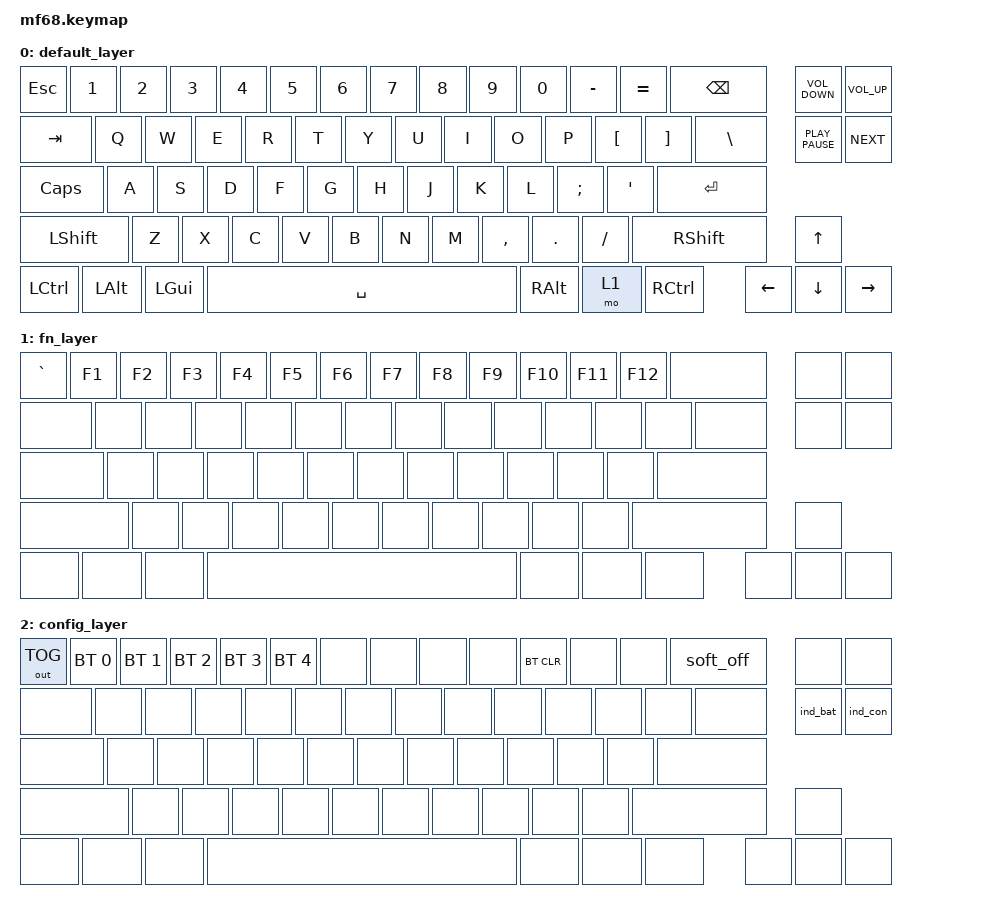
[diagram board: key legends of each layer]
/*
 * Copyright (c) 2020 The ZMK Contributors
 *
 * SPDX-License-Identifier: MIT
 */

#include <behaviors/rgbled_widget.dtsi>
#include <behaviors.dtsi>
#include <dt-bindings/zmk/bt.h>
#include <dt-bindings/zmk/keys.h>
#include <dt-bindings/zmk/outputs.h>

/ {
    keymap0: combos {
        compatible = "zmk,combos";

        unlock {
            bindings = <&studio_unlock>;
            key-positions = <0 16>;
        };

        adjust_layer {
            bindings = <&tog 2>;
            key-positions = <14 15>;
        };
    };

    keymap {
        compatible = "zmk,keymap";

        default_layer {
            // ------------------------------------------------------------------------------------------
            // | ESC |  1  |  2  |  3  |  4  |  5  |  6  |  7  |  8  |  9  |  0  |  -  |  =  |   BSPC   |    |  A  |  B  |
            // | TAB  |  Q  |  W  |  E  |  R  |  T  |  Y  |  U  |  I  |  O  |  P  |  [  |  ]  |    \    |    |  C  |  D  |
            // | CAPS  |  A  |  S  |  D  |  F  |  G  |  H  |  J  |  K  |  L  |  ;  |  '  |     ENTER    |
            // |  SHIFT  |  Z  |  X  |  C  |  V  |  B  |  N  |  M  |  ,  |  .  |  /  |      SHIFT       |    |  UP |     |
            // |  CTL  |  WIN  |  ALT  |            SPACE               | ALT | MO(1) |  WIN  | CTRL    | LFT| DOWN|RIGT |
            // ------------------------------------------------------------------------------------------

            bindings = <
&kp ESC    &kp N1    &kp N2    &kp N3     &kp N4    &kp N5  &kp N6     &kp N7    &kp N8     &kp N9     &kp N0    &kp MINUS  &kp EQUAL  &kp BSPC  &kp K_VOLUME_DOWN  &kp K_VOLUME_UP
&kp TAB    &kp Q     &kp W     &kp E      &kp R     &kp T   &kp Y      &kp U     &kp I      &kp O      &kp P     &kp LBKT   &kp RBKT   &kp BSLH  &kp K_PLAY_PAUSE   &kp K_NEXT
&kp CLCK   &kp A     &kp S     &kp D      &kp F     &kp G   &kp H      &kp J     &kp K      &kp L      &kp SEMI  &kp SQT    &kp RET
&kp LSHFT  &kp Z     &kp X     &kp C      &kp V     &kp B   &kp N      &kp M     &kp COMMA  &kp DOT    &kp FSLH  &kp RSHFT  &kp UP
&kp LCTRL  &kp LALT  &kp LGUI  &kp SPACE  &kp RALT  &mo 1   &kp RCTRL  &kp LEFT  &kp DOWN   &kp RIGHT
            >;
        };

        fn_layer {
            bindings = <
&kp GRAVE  &kp F1  &kp F2  &kp F3  &kp F4  &kp F5  &kp F6  &kp F7  &kp F8  &kp F9  &kp F10  &kp F11  &kp F12  &none  &none  &none
&none      &none   &none   &none   &none   &none   &none   &none   &none   &none   &none    &none    &none    &none  &none  &none
&none      &none   &none   &none   &none   &none   &none   &none   &none   &none   &none    &none    &none
&none      &none   &none   &none   &none   &none   &none   &none   &none   &none   &none    &none    &none
&none      &none   &none   &none   &none   &none   &none   &none   &none   &none
            >;
        };

        config_layer {
            bindings = <
&out OUT_TOG  &bt BT_SEL 0  &bt BT_SEL 1  &bt BT_SEL 2  &bt BT_SEL 3  &bt BT_SEL 4  &none  &none  &none  &none  &bt BT_CLR  &none  &none  &soft_off  &none     &none
&none         &none         &none         &none         &none         &none         &none  &none  &none  &none  &none       &none  &none  &none      &ind_bat  &ind_con
&none         &none         &none         &none         &none         &none         &none  &none  &none  &none  &none       &none  &none
&none         &none         &none         &none         &none         &none         &none  &none  &none  &none  &none       &none  &none
&none         &none         &none         &none         &none         &none         &none  &none  &none  &none
            >;
        };
    };
};
